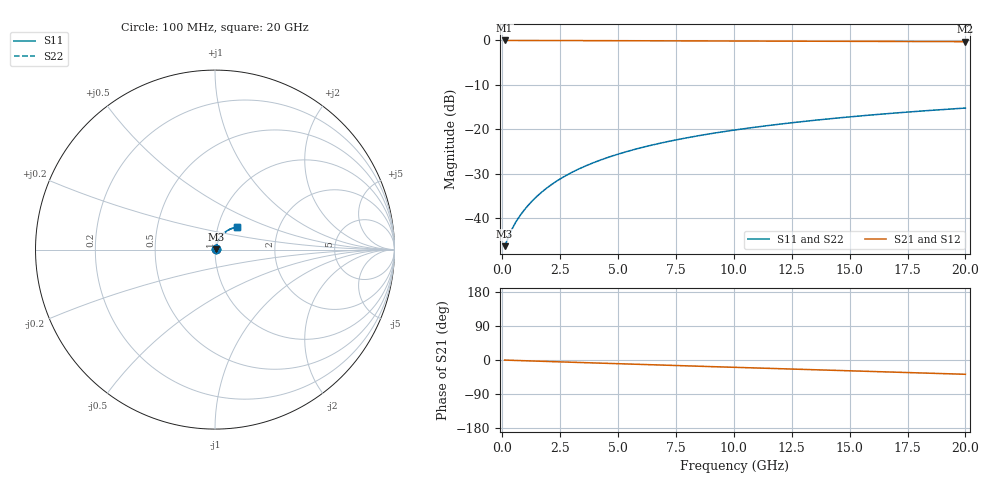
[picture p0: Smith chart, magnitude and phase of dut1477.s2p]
! Touchstone file exported from HFSS 2026.1.0
!  File:  C:/ffzhzh/LocalFiles/Ansys_Project_Files/temp_train_BSMRDL_1477_1783181225_43440.aedt
!  Generated:  12:08:15 AM Jul  5, 2026
!  Design:  BSMRDL
!  Project:  temp_train_BSMRDL_1477_1783181225_43440
! Variables:
!  h_bsmrdl = 3.94um
!  h_ox = 20um
!  h_rdl = 5um
!  h_sub = 80um
!  h_tmrdl = 5um
!  h_tsv = 80um
!  h_via = 3um
!  l_bsmrdl = 661.01um
!  l_sub = 1061.01um
!  l_tmrdl = 200um
!  m_sub = 200um
!  pitch = 20.05um
!  r_tsv = 6um
!  s_tmrdl = 10um
!  w_bsmrdl = 12.98um
!  w_sub = 500um
!  w_tmrdl = 12um
!  x_tsv_center1 = 206um
!  x_tsv_center2 = 879.99um
!  x_tsv_center3 = 1091.99um
!  x_tsv_center4 = 1765.98um
!  x_tsv_center5 = 1977.98um
!  x_tsv_center6 = 2651.97um
# GHz S MA R 50.000000
! Terminal data exported
! Port[1] = BSM_RDL1_1_T1
! Port[2] = BSM_RDL1_1_T2
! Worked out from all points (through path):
!   200 points, 100 MHz to 20 GHz, reference 50 ohm
!   highest |S21| = -0.04 dB at 100 MHz (marker M1); lowest = -0.3 dB at 20 GHz (marker M2)
!   group delay of S21, straight-line fit = 5.22 ps
!   lowest |S11| = -46.2 dB at 100 MHz (marker M3), VSWR 1.01, Z = 50.5 + j0.142 ohm
!   |S11| at or under -10 dB: start of sweep to end of sweep
!   |S22| runs from -46.2 to -15.2 dB; largest |S21 - S12| = 2.1e-15
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0.1  0.004887 16.8  0.9953 -0.2  0.9953 -0.2  0.004887 16.8
! Gamma 0 0 0 0
! Port Impedance 50 0 50 0
0.4  0.007422 43.0  0.9946 -0.8  0.9946 -0.8  0.007421 43.0
0.6  0.009251 50.6  0.9943 -1.2  0.9943 -1.2  0.009249 50.6
0.7  0.01016 53.4  0.9941 -1.4  0.9941 -1.4  0.01016 53.4
0.9  0.01199 57.8  0.9939 -1.8  0.9939 -1.8  0.01199 57.8
1.1  0.01387 61.1  0.9937 -2.2  0.9937 -2.2  0.01387 61.1
1.3  0.01579 63.6  0.9936 -2.6  0.9936 -2.6  0.01579 63.6
1.5  0.01775 65.6  0.9934 -3.0  0.9934 -3.0  0.01775 65.6
1.8  0.02073 67.6  0.9932 -3.6  0.9932 -3.6  0.02072 67.6
2.3  0.02576 69.7  0.9927 -4.6  0.9927 -4.6  0.02576 69.7
2.9  0.03184 70.8  0.9921 -5.7  0.9921 -5.7  0.03184 70.8
3.5  0.03789 71.0  0.9914 -6.9  0.9914 -6.9  0.03789 71.0
4.2  0.04488 70.8  0.9905 -8.3  0.9905 -8.3  0.04487 70.8
5  0.05272 70.0  0.9893 -9.8  0.9893 -9.8  0.05272 70.0
5.9  0.06135 68.9  0.9879 -11.5  0.9879 -11.5  0.06134 68.9
6.8  0.06976 67.6  0.9865 -13.3  0.9865 -13.3  0.06976 67.6
8.3  0.08332 65.3  0.984 -16.1  0.984 -16.1  0.08331 65.3
10.1  0.09891 62.3  0.981 -19.5  0.981 -19.5  0.09889 62.4
11.7  0.1122 59.7  0.9784 -22.5  0.9784 -22.5  0.1122 59.8
13.4  0.1258 56.9  0.9756 -25.6  0.9756 -25.6  0.1258 57.0
16.7  0.1507 51.5  0.9703 -31.7  0.9703 -31.7  0.1506 51.5
20  0.1735 46.0  0.9651 -37.7  0.9651 -37.7  0.1734 46.0
